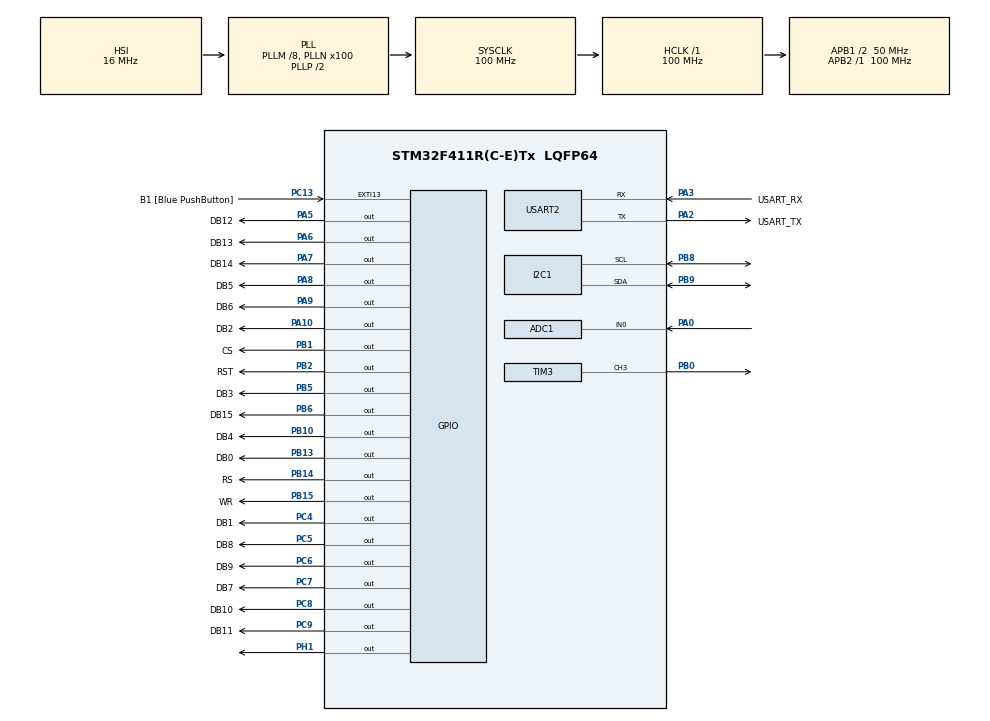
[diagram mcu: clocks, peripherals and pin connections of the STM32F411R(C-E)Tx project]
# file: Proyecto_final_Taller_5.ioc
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ADC1.Channel-11\#ChannelRegularConversion=ADC_CHANNEL_0
ADC1.ContinuousConvMode=ENABLE
ADC1.DMAContinuousRequests=ENABLE
ADC1.NbrOfConversion=1
ADC1.NbrOfConversionFlag=1
ADC1.Rank-11\#ChannelRegularConversion=1
ADC1.SamplingTime-11\#ChannelRegularConversion=ADC_SAMPLETIME_84CYCLES
ADC1.master=1
Dma.ADC1.0.Direction=DMA_PERIPH_TO_MEMORY
Dma.ADC1.0.FIFOMode=DMA_FIFOMODE_DISABLE
Dma.ADC1.0.Instance=DMA2_Stream0
Dma.ADC1.0.MemDataAlignment=DMA_MDATAALIGN_HALFWORD
Dma.ADC1.0.MemInc=DMA_MINC_ENABLE
Dma.ADC1.0.Mode=DMA_CIRCULAR
Dma.ADC1.0.PeriphDataAlignment=DMA_PDATAALIGN_HALFWORD
Dma.ADC1.0.PeriphInc=DMA_PINC_DISABLE
Dma.ADC1.0.Priority=DMA_PRIORITY_LOW
Dma.Request0=ADC1
Mcu.Family=STM32F4
Mcu.Name=STM32F411R(C-E)Tx
Mcu.Package=LQFP64
NVIC.DMA2_Stream0_IRQn=true\:0\:0\:false\:false\:true\:false\:true\:true
NVIC.PriorityGroup=NVIC_PRIORITYGROUP_0
NVIC.TIM1_TRG_COM_TIM11_IRQn=true\:0\:0\:false\:false\:true\:true\:true\:true
NVIC.USART2_IRQn=true\:0\:0\:false\:false\:true\:true\:true\:true
PA0-WKUP.Signal=ADCx_IN0
PA10.GPIO_Label=DB2
PA10.GPIO_Speed=GPIO_SPEED_FREQ_VERY_HIGH
PA10.Signal=GPIO_Output
PA13.GPIO_Label=TMS
PA13.Mode=Serial_Wire
PA13.Signal=SYS_JTMS-SWDIO
PA14.GPIO_Label=TCK
PA14.Mode=Serial_Wire
PA14.Signal=SYS_JTCK-SWCLK
PA2.GPIO_Label=USART_TX
PA2.Mode=Asynchronous
PA2.Signal=USART2_TX
PA3.GPIO_Label=USART_RX
PA3.Mode=Asynchronous
PA3.Signal=USART2_RX
PA5.GPIO_Label=DB12
PA5.Signal=GPIO_Output
PA6.GPIO_Label=DB13
PA6.Signal=GPIO_Output
PA7.GPIO_Label=DB14
PA7.Signal=GPIO_Output
PA8.GPIO_Label=DB5
PA8.GPIO_Speed=GPIO_SPEED_FREQ_VERY_HIGH
PA8.Signal=GPIO_Output
PA9.GPIO_Label=DB6
PA9.GPIO_Speed=GPIO_SPEED_FREQ_VERY_HIGH
PA9.Signal=GPIO_Output
PB0.Signal=S_TIM3_CH3
PB1.GPIO_Label=CS
PB1.GPIO_Speed=GPIO_SPEED_FREQ_VERY_HIGH
PB1.Signal=GPIO_Output
PB10.GPIO_Label=DB4
PB10.GPIO_Speed=GPIO_SPEED_FREQ_VERY_HIGH
PB10.Signal=GPIO_Output
PB13.GPIO_Label=DB0
PB13.GPIO_Speed=GPIO_SPEED_FREQ_VERY_HIGH
PB13.Signal=GPIO_Output
PB14.GPIO_Label=RS
PB14.GPIO_Speed=GPIO_SPEED_FREQ_VERY_HIGH
PB14.Signal=GPIO_Output
PB15.GPIO_Label=WR
PB15.GPIO_Speed=GPIO_SPEED_FREQ_VERY_HIGH
PB15.Signal=GPIO_Output
PB2.GPIO_Label=RST
PB2.GPIO_Speed=GPIO_SPEED_FREQ_VERY_HIGH
PB2.Signal=GPIO_Output
PB3.GPIO_Label=SWO
PB3.Signal=SYS_JTDO-SWO
PB5.GPIO_Label=DB3
PB5.Signal=GPIO_Output
PB6.GPIO_Label=DB15
PB6.Signal=GPIO_Output
PB8.Mode=I2C
PB8.Signal=I2C1_SCL
PB9.Mode=I2C
PB9.Signal=I2C1_SDA
PC13-ANTI_TAMP.GPIO_Label=B1 [Blue PushButton]
PC13-ANTI_TAMP.GPIO_ModeDefaultEXTI=GPIO_MODE_IT_FALLING
PC13-ANTI_TAMP.Signal=GPXTI13
PC4.GPIO_Label=DB1
PC4.GPIO_Speed=GPIO_SPEED_FREQ_VERY_HIGH
PC4.Signal=GPIO_Output
PC5.GPIO_Label=DB8
PC5.GPIO_Speed=GPIO_SPEED_FREQ_VERY_HIGH
PC5.Signal=GPIO_Output
PC6.GPIO_Label=DB9
PC6.GPIO_Speed=GPIO_SPEED_FREQ_VERY_HIGH
PC6.Signal=GPIO_Output
PC7.GPIO_Label=DB7
PC7.GPIO_Speed=GPIO_SPEED_FREQ_VERY_HIGH
PC7.Signal=GPIO_Output
PC8.GPIO_Label=DB10
PC8.GPIO_Speed=GPIO_SPEED_FREQ_VERY_HIGH
PC8.Signal=GPIO_Output
PC9.GPIO_Label=DB11
PC9.GPIO_Speed=GPIO_SPEED_FREQ_VERY_HIGH
PC9.Signal=GPIO_Output
PH1\ -\ OSC_OUT.Signal=GPIO_Output
ProjectManager.HeapSize=0x200
ProjectManager.StackSize=0x400
ProjectManager.TargetToolchain=STM32CubeIDE
RCC.48MHZClocksFreq_Value=50000000
RCC.AHBFreq_Value=100000000
RCC.APB1CLKDivider=RCC_HCLK_DIV2
RCC.APB1Freq_Value=50000000
RCC.APB1TimFreq_Value=100000000
RCC.APB2Freq_Value=100000000
RCC.APB2TimFreq_Value=100000000
RCC.CortexFreq_Value=100000000
RCC.FLatency-AdvancedSettings=FLASH_LATENCY_3
RCC.HCLKFreq_Value=100000000
RCC.HSE_VALUE=8000000
RCC.HSI_VALUE=16000000
RCC.LSE_VALUE=32768
RCC.PLLM=8
RCC.PLLN=100
RCC.SYSCLKFreq_VALUE=100000000
RCC.SYSCLKSource=RCC_SYSCLKSOURCE_PLLCLK
RCC.VCOOutputFreq_Value=200000000
SH.ADCx_IN0.0=ADC1_IN0,IN0
SH.S_TIM3_CH3.0=TIM3_CH3,PWM Generation3 CH3
TIM11.Period=19999
TIM11.Prescaler=99
TIM3.AutoReloadPreload=TIM_AUTORELOAD_PRELOAD_DISABLE
TIM3.Channel-PWM\ Generation3\ CH3=TIM_CHANNEL_3
TIM3.OCPolarity_3=TIM_OCPOLARITY_HIGH
TIM3.Period=999
TIM3.Prescaler=99
USART2.VirtualMode=VM_ASYNC
VP_TIM11_VS_ClockSourceINT.Mode=Enable_Timer
board=NUCLEO-F411RE

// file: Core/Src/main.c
/* USER CODE BEGIN Header */
/**
 ******************************************************************************
 * @file           : main.c
 * @brief          : Main program body
 ******************************************************************************
 * @attention
 *
 * Copyright (c) 2025 STMicroelectronics.
 * All rights reserved.
 *
 * This software is licensed under terms that can be found in the LICENSE file
 * in the root directory of this software component.
 * If no LIC	ENSE file comes with this software, it is provided AS-IS.
 *
 ******************************************************************************
 */
/* USER CODE END Header */
#include "main.h"

/* USER CODE BEGIN Includes */
#include "STM32_GY521.h"
#include "TFT_ILI9486.h"
#include "buzzer.h"
#include "galaga_game.h"
#include "game_selector.h"
#include <stdint.h>
#include <stdio.h>

/* USER CODE END Includes */

/* USER CODE BEGIN PD */
#define GY521_ADDR 0x69

/* USER CODE END PD */

ADC_HandleTypeDef hadc1;
DMA_HandleTypeDef hdma_adc1;

I2C_HandleTypeDef hi2c1;

TIM_HandleTypeDef htim3;
TIM_HandleTypeDef htim11;

UART_HandleTypeDef huart2;

/* USER CODE BEGIN PV */

GY521 sensor;
volatile uint8_t flag_acelerometro = 0;

// ADC DMA buffer
volatile uint32_t adc_value = 0;

// Filtro de suavizado para posición del jugador
float filtered_ay = 0.0f;
#define SMOOTHING_FACTOR 0.15f // 0.0-1.0 (menor = más suave)

// Debug counter
uint32_t debug_counter = 0;

// Disparo con cooldown (auto-fire mientras esté en rango)
#define ADC_FIRE_MIN 0 // Rango de disparo: 0 a 400
#define ADC_FIRE_MAX 400
#define FIRE_COOLDOWN 10 // Ciclos entre disparos (más bajo = más rápido)
uint32_t fire_cooldown_counter = 0;

// Buffer para recepción UART (selector de juegos)
volatile uint8_t uart_rx_char = 0;

/* USER CODE END PV */

void SystemClock_Config(void);
static void MX_GPIO_Init(void);
static void MX_DMA_Init(void);
static void MX_USART2_UART_Init(void);
static void MX_I2C1_Init(void);
static void MX_TIM11_Init(void);
static void MX_ADC1_Init(void);
static void MX_TIM3_Init(void);

int main(void)
{

  /* MCU Configuration--------------------------------------------------------*/

  /* Reset of all peripherals, Initializes the Flash interface and the Systick. */
  HAL_Init();

  /* Configure the system clock */
  SystemClock_Config();

  /* Initialize all configured peripherals */
  MX_GPIO_Init();
  MX_DMA_Init();
  MX_USART2_UART_Init();
  MX_I2C1_Init();
  MX_TIM11_Init();
  MX_ADC1_Init();
  MX_TIM3_Init();
  /* USER CODE BEGIN 2 */

  // Inicializar Buzzer (TIM3_CH3 - PB0)
  Buzzer_Init(&htim3);

  // Iniciar melodía en modo no bloqueante (se repite en el loop)
  Buzzer_IniciarMelodia(MELODIA_PONG_1, MELODIA_PONG_1_LEN);

  // Inicializar Pantalla
  ILI_Init();

  // Mensaje de inicio por UART
  printf("=== GAME SELECTOR ===\r\n");

  // Iniciar ADC con DMA
  HAL_ADC_Start_DMA(&hadc1, (uint32_t *)&adc_value, 1);
  printf("ADC DMA iniciado\r\n");

  // Inicializar sensor GY521
  GY521_Init(&sensor, &hi2c1, GY521_ADDR);
  uint8_t gy_ok = 0;
  for (int i = 0; i < 5; i++) {
    if (GY521_begin(&sensor) == true) {
      gy_ok = 1;
      printf("GY521 OK!\r\n");
      break;
    }
    printf("GY521 intento %d...\r\n", i + 1);
    HAL_Delay(200);
  }
  if (!gy_ok) {
    printf("GY521 FALLO - continuando sin acelerometro\r\n");
  }

  // Iniciar selector de juegos (empieza con Racing Game)
  GameSelector_Init(&hadc1, &hi2c1, &huart2, GAME_RACING);

  // Iniciar recepción UART por interrupción
  HAL_UART_Receive_IT(&huart2, (uint8_t *)&uart_rx_char, 1);

  /* USER CODE END 2 */

  /* Infinite loop */
  while (1) {

    /* USER CODE BEGIN 3 */

    // === LEER ACELEROMETRO PARA GALAGA ===
    // Solo procesar si estamos en Galaga
    if (gy_ok && GameSelector_GetCurrentGame() == GAME_GALAGA) {
      GY521_read(&sensor);

      // Aplicar filtro exponencial (suavizado)
      filtered_ay = filtered_ay * (1.0f - SMOOTHING_FACTOR) +
                    sensor.ay * SMOOTHING_FACTOR;

      // Mapear aceleracion filtrada a posicion X (INVERTIDO)
      float ay = -filtered_ay; // INVERTIDO
      if (ay < -0.5f)
        ay = -0.5f;
      if (ay > 0.5f)
        ay = 0.5f;
      int16_t player_x = (int16_t)((ay + 0.5f) * 290.0f + 15.0f);

      Galaga_SetPlayerX(player_x);

      // === LEER ADC (joystick) - DISPARO cuando está ARRIBA ===
      uint32_t adc_now = adc_value;
      if (adc_now >= 3500) { // Arriba = disparar
        fire_cooldown_counter++;
        if (fire_cooldown_counter >= FIRE_COOLDOWN) {
          fire_cooldown_counter = 0;
          Galaga_Fire();
        }
      } else {
        fire_cooldown_counter = FIRE_COOLDOWN;
      }
    }

    // === EJECUTAR JUEGO ACTUAL ===
    GameSelector_Loop();

    // === ACTUALIZAR MELODIA (no bloqueante, se repite) ===
    if (!Buzzer_ActualizarMelodia()) {
      // Melodía terminó, reiniciar
      Buzzer_IniciarMelodia(MELODIA_PONG_1, MELODIA_PONG_1_LEN);
    }
  }
  /* USER CODE END 3 */
}

void SystemClock_Config(void)
{
  RCC_OscInitTypeDef RCC_OscInitStruct = {0};
  RCC_ClkInitTypeDef RCC_ClkInitStruct = {0};

  /** Configure the main internal regulator output voltage
  */
  __HAL_RCC_PWR_CLK_ENABLE();
  __HAL_PWR_VOLTAGESCALING_CONFIG(PWR_REGULATOR_VOLTAGE_SCALE1);

  /** Initializes the RCC Oscillators according to the specified parameters
  * in the RCC_OscInitTypeDef structure.
  */
  RCC_OscInitStruct.OscillatorType = RCC_OSCILLATORTYPE_HSI;
  RCC_OscInitStruct.HSIState = RCC_HSI_ON;
  RCC_OscInitStruct.HSICalibrationValue = RCC_HSICALIBRATION_DEFAULT;
  RCC_OscInitStruct.PLL.PLLState = RCC_PLL_ON;
  RCC_OscInitStruct.PLL.PLLSource = RCC_PLLSOURCE_HSI;
  RCC_OscInitStruct.PLL.PLLM = 8;
  RCC_OscInitStruct.PLL.PLLN = 100;
  RCC_OscInitStruct.PLL.PLLP = RCC_PLLP_DIV2;
  RCC_OscInitStruct.PLL.PLLQ = 4;
  if (HAL_RCC_OscConfig(&RCC_OscInitStruct) != HAL_OK)
  {
    Error_Handler();
  }

  /** Initializes the CPU, AHB and APB buses clocks
  */
  RCC_ClkInitStruct.ClockType = RCC_CLOCKTYPE_HCLK|RCC_CLOCKTYPE_SYSCLK
                              |RCC_CLOCKTYPE_PCLK1|RCC_CLOCKTYPE_PCLK2;
  RCC_ClkInitStruct.SYSCLKSource = RCC_SYSCLKSOURCE_PLLCLK;
  RCC_ClkInitStruct.AHBCLKDivider = RCC_SYSCLK_DIV1;
  RCC_ClkInitStruct.APB1CLKDivider = RCC_HCLK_DIV2;
  RCC_ClkInitStruct.APB2CLKDivider = RCC_HCLK_DIV1;

  if (HAL_RCC_ClockConfig(&RCC_ClkInitStruct, FLASH_LATENCY_3) != HAL_OK)
  {
    Error_Handler();
  }
}

static void MX_ADC1_Init(void)
{

  ADC_ChannelConfTypeDef sConfig = {0};

  /** Configure the global features of the ADC (Clock, Resolution, Data Alignment and number of conversion)
  */
  hadc1.Instance = ADC1;
  hadc1.Init.ClockPrescaler = ADC_CLOCK_SYNC_PCLK_DIV4;
  hadc1.Init.Resolution = ADC_RESOLUTION_12B;
  hadc1.Init.ScanConvMode = DISABLE;
  hadc1.Init.ContinuousConvMode = ENABLE;
  hadc1.Init.DiscontinuousConvMode = DISABLE;
  hadc1.Init.ExternalTrigConvEdge = ADC_EXTERNALTRIGCONVEDGE_NONE;
  hadc1.Init.ExternalTrigConv = ADC_SOFTWARE_START;
  hadc1.Init.DataAlign = ADC_DATAALIGN_RIGHT;
  hadc1.Init.NbrOfConversion = 1;
  hadc1.Init.DMAContinuousRequests = ENABLE;
  hadc1.Init.EOCSelection = ADC_EOC_SINGLE_CONV;
  if (HAL_ADC_Init(&hadc1) != HAL_OK)
  {
    Error_Handler();
  }

  /** Configure for the selected ADC regular channel its corresponding rank in the sequencer and its sample time.
  */
  sConfig.Channel = ADC_CHANNEL_0;
  sConfig.Rank = 1;
  sConfig.SamplingTime = ADC_SAMPLETIME_84CYCLES;
  if (HAL_ADC_ConfigChannel(&hadc1, &sConfig) != HAL_OK)
  {
    Error_Handler();
  }

}

static void MX_I2C1_Init(void)
{

  hi2c1.Instance = I2C1;
  hi2c1.Init.ClockSpeed = 100000;
  hi2c1.Init.DutyCycle = I2C_DUTYCYCLE_2;
  hi2c1.Init.OwnAddress1 = 0;
  hi2c1.Init.AddressingMode = I2C_ADDRESSINGMODE_7BIT;
  hi2c1.Init.DualAddressMode = I2C_DUALADDRESS_DISABLE;
  hi2c1.Init.OwnAddress2 = 0;
  hi2c1.Init.GeneralCallMode = I2C_GENERALCALL_DISABLE;
  hi2c1.Init.NoStretchMode = I2C_NOSTRETCH_DISABLE;
  if (HAL_I2C_Init(&hi2c1) != HAL_OK)
  {
    Error_Handler();
  }

}

static void MX_TIM3_Init(void)
{

  TIM_MasterConfigTypeDef sMasterConfig = {0};
  TIM_OC_InitTypeDef sConfigOC = {0};

  htim3.Instance = TIM3;
  htim3.Init.Prescaler = 99;
  htim3.Init.CounterMode = TIM_COUNTERMODE_UP;
  htim3.Init.Period = 999;
  htim3.Init.ClockDivision = TIM_CLOCKDIVISION_DIV1;
  htim3.Init.AutoReloadPreload = TIM_AUTORELOAD_PRELOAD_DISABLE;
  if (HAL_TIM_PWM_Init(&htim3) != HAL_OK)
  {
    Error_Handler();
  }
  sMasterConfig.MasterOutputTrigger = TIM_TRGO_RESET;
  sMasterConfig.MasterSlaveMode = TIM_MASTERSLAVEMODE_DISABLE;
  if (HAL_TIMEx_MasterConfigSynchronization(&htim3, &sMasterConfig) != HAL_OK)
  {
    Error_Handler();
  }
  sConfigOC.OCMode = TIM_OCMODE_PWM1;
  sConfigOC.Pulse = 0;
  sConfigOC.OCPolarity = TIM_OCPOLARITY_HIGH;
  sConfigOC.OCFastMode = TIM_OCFAST_DISABLE;
  if (HAL_TIM_PWM_ConfigChannel(&htim3, &sConfigOC, TIM_CHANNEL_3) != HAL_OK)
  {
    Error_Handler();
  }
  HAL_TIM_MspPostInit(&htim3);

}

static void MX_TIM11_Init(void)
{

  htim11.Instance = TIM11;
  htim11.Init.Prescaler = 99;
  htim11.Init.CounterMode = TIM_COUNTERMODE_UP;
  htim11.Init.Period = 19999;
  htim11.Init.ClockDivision = TIM_CLOCKDIVISION_DIV1;
  htim11.Init.AutoReloadPreload = TIM_AUTORELOAD_PRELOAD_DISABLE;
  if (HAL_TIM_Base_Init(&htim11) != HAL_OK)
  {
    Error_Handler();
  }

}

static void MX_USART2_UART_Init(void)
{

  huart2.Instance = USART2;
  huart2.Init.BaudRate = 115200;
  huart2.Init.WordLength = UART_WORDLENGTH_8B;
  huart2.Init.StopBits = UART_STOPBITS_1;
  huart2.Init.Parity = UART_PARITY_NONE;
  huart2.Init.Mode = UART_MODE_TX_RX;
  huart2.Init.HwFlowCtl = UART_HWCONTROL_NONE;
  huart2.Init.OverSampling = UART_OVERSAMPLING_16;
  if (HAL_UART_Init(&huart2) != HAL_OK)
  {
    Error_Handler();
  }

}

static void MX_DMA_Init(void)
{

  /* DMA controller clock enable */
  __HAL_RCC_DMA2_CLK_ENABLE();

  /* DMA interrupt init */
  /* DMA2_Stream0_IRQn interrupt configuration */
  HAL_NVIC_SetPriority(DMA2_Stream0_IRQn, 0, 0);
  HAL_NVIC_EnableIRQ(DMA2_Stream0_IRQn);

}

static void MX_GPIO_Init(void)
{
  GPIO_InitTypeDef GPIO_InitStruct = {0};

  /* GPIO Ports Clock Enable */
  __HAL_RCC_GPIOC_CLK_ENABLE();
  __HAL_RCC_GPIOH_CLK_ENABLE();
  __HAL_RCC_GPIOA_CLK_ENABLE();
  __HAL_RCC_GPIOB_CLK_ENABLE();

  /*Configure GPIO pin Output Level */
  HAL_GPIO_WritePin(GPIOH, GPIO_PIN_1, GPIO_PIN_RESET);

  /*Configure GPIO pin Output Level */
  HAL_GPIO_WritePin(GPIOA, DB12_Pin|DB13_Pin|DB14_Pin|DB5_Pin
                          |DB6_Pin|DB2_Pin, GPIO_PIN_RESET);

  /*Configure GPIO pin Output Level */
  HAL_GPIO_WritePin(GPIOC, DB1_Pin|DB8_Pin|DB9_Pin|DB7_Pin
                          |DB10_Pin|DB11_Pin, GPIO_PIN_RESET);

  /*Configure GPIO pin Output Level */
  HAL_GPIO_WritePin(GPIOB, CS_Pin|RST_Pin|DB4_Pin|DB0_Pin
                          |RS_Pin|WR_Pin|DB3_Pin|DB15_Pin, GPIO_PIN_RESET);

  /*Configure GPIO pin : B1_Pin */
  GPIO_InitStruct.Pin = B1_Pin;
  GPIO_InitStruct.Mode = GPIO_MODE_IT_FALLING;
  GPIO_InitStruct.Pull = GPIO_NOPULL;
  HAL_GPIO_Init(B1_GPIO_Port, &GPIO_InitStruct);

  /*Configure GPIO pin : PH1 */
  GPIO_InitStruct.Pin = GPIO_PIN_1;
  GPIO_InitStruct.Mode = GPIO_MODE_OUTPUT_PP;
  GPIO_InitStruct.Pull = GPIO_NOPULL;
  GPIO_InitStruct.Speed = GPIO_SPEED_FREQ_LOW;
  HAL_GPIO_Init(GPIOH, &GPIO_InitStruct);

  /*Configure GPIO pins : DB12_Pin DB13_Pin DB14_Pin */
  GPIO_InitStruct.Pin = DB12_Pin|DB13_Pin|DB14_Pin;
  GPIO_InitStruct.Mode = GPIO_MODE_OUTPUT_PP;
  GPIO_InitStruct.Pull = GPIO_NOPULL;
  GPIO_InitStruct.Speed = GPIO_SPEED_FREQ_LOW;
  HAL_GPIO_Init(GPIOA, &GPIO_InitStruct);

  /*Configure GPIO pins : DB1_Pin DB8_Pin DB9_Pin DB7_Pin
                           DB10_Pin DB11_Pin */
  GPIO_InitStruct.Pin = DB1_Pin|DB8_Pin|DB9_Pin|DB7_Pin
                          |DB10_Pin|DB11_Pin;
  GPIO_InitStruct.Mode = GPIO_MODE_OUTPUT_PP;
  GPIO_InitStruct.Pull = GPIO_NOPULL;
  GPIO_InitStruct.Speed = GPIO_SPEED_FREQ_VERY_HIGH;
  HAL_GPIO_Init(GPIOC, &GPIO_InitStruct);

  /*Configure GPIO pins : CS_Pin RST_Pin DB4_Pin DB0_Pin
                           RS_Pin WR_Pin */
  GPIO_InitStruct.Pin = CS_Pin|RST_Pin|DB4_Pin|DB0_Pin
                          |RS_Pin|WR_Pin;
  GPIO_InitStruct.Mode = GPIO_MODE_OUTPUT_PP;
  GPIO_InitStruct.Pull = GPIO_NOPULL;
  GPIO_InitStruct.Speed = GPIO_SPEED_FREQ_VERY_HIGH;
  HAL_GPIO_Init(GPIOB, &GPIO_InitStruct);

  /*Configure GPIO pins : DB5_Pin DB6_Pin DB2_Pin */
  GPIO_InitStruct.Pin = DB5_Pin|DB6_Pin|DB2_Pin;
  GPIO_InitStruct.Mode = GPIO_MODE_OUTPUT_PP;
  GPIO_InitStruct.Pull = GPIO_NOPULL;
  GPIO_InitStruct.Speed = GPIO_SPEED_FREQ_VERY_HIGH;
  HAL_GPIO_Init(GPIOA, &GPIO_InitStruct);

  /*Configure GPIO pins : DB3_Pin DB15_Pin */
  GPIO_InitStruct.Pin = DB3_Pin|DB15_Pin;
  GPIO_InitStruct.Mode = GPIO_MODE_OUTPUT_PP;
  GPIO_InitStruct.Pull = GPIO_NOPULL;
  GPIO_InitStruct.Speed = GPIO_SPEED_FREQ_LOW;
  HAL_GPIO_Init(GPIOB, &GPIO_InitStruct);

}

/* USER CODE BEGIN 4 */

void HAL_TIM_PeriodElapsedCallback(TIM_HandleTypeDef *htim) {
  // Verificar si la interrupción viene del Timer 11 (Pantalla)
  if (htim->Instance == TIM11) {
    flag_acelerometro = 1; // Encender bandera para refresco de LCD
    HAL_GPIO_TogglePin(GPIOH, GPIO_PIN_1);
  }
}

void HAL_UART_RxCpltCallback(UART_HandleTypeDef *huart) {
  if (huart->Instance == USART2) {
    // Procesar comando para cambio de juego
    GameSelector_ProcessUART(uart_rx_char);
    // Reiniciar recepción
    HAL_UART_Receive_IT(&huart2, (uint8_t *)&uart_rx_char, 1);
  }
}

int __io_putchar(int ch) {
  HAL_UART_Transmit(&huart2, (uint8_t *)&ch, 1, 10);
  return ch;
}
/* USER CODE END 4 */

void Error_Handler(void)
{
  /* USER CODE BEGIN Error_Handler_Debug */
  /* User can add his own implementation to report the HAL error return state
   */
  __disable_irq();
  while (1) {
  }
  /* USER CODE END Error_Handler_Debug */
}

#ifdef  USE_FULL_ASSERT
/**
  * @brief  Reports the name of the source file and the source line number
  *         where the assert_param error has occurred.
  * @param  file: pointer to the source file name
  * @param  line: assert_param error line source number
  * @retval None
  */
void assert_failed(uint8_t *file, uint32_t line)
{
  /* USER CODE BEGIN 6 */
  /* User can add his own implementation to report the file name and line
number, ex: printf("Wrong parameters value: file %s on line %d\r\n", file,
line)
   */
  /* USER CODE END 6 */
}
#endif /* USE_FULL_ASSERT */
